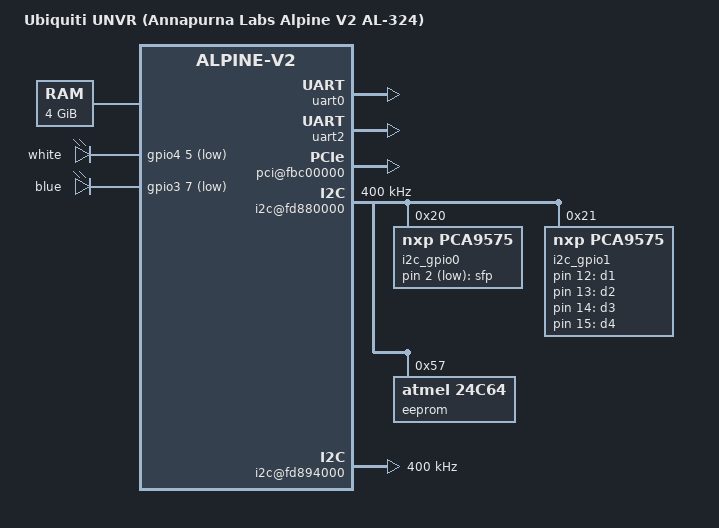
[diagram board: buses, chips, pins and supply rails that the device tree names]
// SPDX-License-Identifier: GPL-2.0+ OR X11
/*
 * Minimal U-Boot control DTS for the Ubiquiti UNVR
 * (Annapurna Labs Alpine V2 / AL-324, sysid 0xea16).
 *
 * Stage-1 console bring-up only: CPUs, PSCI, GIC-v3, arch timer, UART0,
 * memory. Addresses from docs/hardware.md (verified against the live DT).
 * PCIe/SATA/SPI-NOR/I2C nodes are added in later stages.
 */

/dts-v1/;

/ {
	model = "Ubiquiti UNVR (Annapurna Labs Alpine V2 AL-324)";
	compatible = "ubnt,unvr", "annapurna-labs,al-alpine-v2", "al,alpine-v2";
	interrupt-parent = <&gic>;
	#address-cells = <2>;
	#size-cells = <2>;

	aliases {
		serial0 = &uart0;
		serial2 = &uart2;	/* RPS-connector UART — usable as a 2nd console */
	};

	chosen {
		stdout-path = "serial0:115200n8";
	};

	cpus {
		#address-cells = <2>;
		#size-cells = <0>;

		cpu0: cpu@0 {
			device_type = "cpu";
			compatible = "arm,cortex-a57";
			reg = <0x0 0x0>;
			enable-method = "psci";
		};
		cpu1: cpu@1 {
			device_type = "cpu";
			compatible = "arm,cortex-a57";
			reg = <0x0 0x1>;
			enable-method = "psci";
		};
		cpu2: cpu@2 {
			device_type = "cpu";
			compatible = "arm,cortex-a57";
			reg = <0x0 0x2>;
			enable-method = "psci";
		};
		cpu3: cpu@3 {
			device_type = "cpu";
			compatible = "arm,cortex-a57";
			reg = <0x0 0x3>;
			enable-method = "psci";
		};
	};

	psci {
		compatible = "arm,psci-0.2", "arm,psci";
		method = "smc";
	};

	timer {
		compatible = "arm,armv8-timer";
		/* GIC_PPI type; LEVEL_LOW(8) per the vendor dtsi */
		interrupts = <1 13 8>, <1 14 8>, <1 11 8>, <1 10 8>;
	};

	/* 4 GiB: 3 GiB contiguous at 0 + 1 GiB above 4 GiB (docs/hardware.md) */
	memory@0 {
		device_type = "memory";
		reg = <0x0 0x00000000 0x0 0xC0000000>,
		      <0x2 0x00000000 0x0 0x40000000>;
	};

	/* System-bus clock (500 MHz) — feeds the DW I2C IP so its 100 kHz
	 * dividers are computed against the real rate, not the 166 MHz fallback. */
	sbclk: sbclk {
		compatible = "fixed-clock";
		#clock-cells = <0>;
		clock-frequency = <500000000>;
	};


	gic: interrupt-controller@f0200000 {
		compatible = "arm,gic-v3";
		#interrupt-cells = <3>;
		#address-cells = <2>;
		#size-cells = <2>;
		interrupt-controller;
		reg = <0x0 0xf0200000 0x0 0x10000>,	/* GICD */
		      <0x0 0xf0280000 0x0 0x200000>;	/* GICR */
		interrupts = <1 9 4>;
	};

	soc {
		compatible = "simple-bus";
		#address-cells = <2>;
		#size-cells = <2>;
		ranges;

		uart0: serial@fd883000 {
			compatible = "ns16550a";
			reg = <0x0 0xfd883000 0x0 0x1000>;
			interrupts = <0 17 4>;		/* GIC_SPI 17 LEVEL_HIGH */
			clock-frequency = <500000000>;
			reg-shift = <2>;
			reg-io-width = <4>;
			status = "okay";
		};

		/*
		 * uart2 = the RPS-connector UART (ttyS2), RS-232 via MAX3221 (U122)
		 * out on JB4. Enabled as serial2 so it can serve as a SECOND console
		 * (`setenv stdout serial2; setenv stdin serial2`) — a spare RS-232
		 * console when RPS is unused. See docs/rps-subsystem.md,
		 * docs/uboot-hw-test-suite.md. RPS itself runs 115200 8N1 JSON.
		 */
		uart2: serial@fd885000 {
			compatible = "ns16550a";
			reg = <0x0 0xfd885000 0x0 0x1000>;
			interrupts = <0 19 4>;		/* GIC_SPI 19 LEVEL_HIGH */
			clock-frequency = <500000000>;
			reg-shift = <2>;
			reg-io-width = <4>;
			status = "okay";
		};

		/*
		 * Internal PCIe host — an ECAM-compatible window at 0xfbc00000
		 * fronting the SoC's integrated PCI endpoints (bus 0 only): 2×
		 * AHCI SATA (1c36:0031, class AHCI 1.0), eth, crypto, DMA. Linux
		 * uses "pci-host-ecam-generic" here; U-Boot's PCIE_ECAM_GENERIC
		 * binds the same. We ENUMERATE OURSELVES + assign BARs — never
		 * rely on stock U-Boot's enumeration (it doesn't exist standalone).
		 *   reg    = ECAM config space (1 MB, one 4 KB window per devfn)
		 *   ranges = 32-bit non-prefetch MMIO, PCI 0xfe000000 -> CPU 1:1, 16 MB
		 * MSI/interrupts omitted: U-Boot polls AHCI.
		 * Annapurna extra NOT here yet: AXI SMCC snoop (cfg 0x110-0x170) +
		 * APP_CONTROL (0x220) for cache-coherent DMA — add via a board hook
		 * if AHCI DMA reads come back incoherent. (pcie-al-internal.c ref.)
		 */

		pci@fbc00000 {
			compatible = "pci-host-ecam-generic";
			device_type = "pci";
			#address-cells = <3>;
			#size-cells = <2>;
			#interrupt-cells = <1>;
			reg = <0x0 0xfbc00000 0x0 0x100000>;
			ranges = <0x02000000 0x0 0xfe000000  0x0 0xfe000000  0x0 0x01000000>;
			bus-range = <0x00 0x00>;
		};

		/* SoC GPIO (PL061), 6 banks × 8 = 48 lines. "arm,pl061" only (drop
		 * primecell -> no AMBA needed). gpio-line-names = the live MUIO
		 * pinmux map (read 2026-08-18, docs/gpio-map.md) so `gpio status`
		 * self-labels every ball: mux func 0=GPIO / nand / uart2(RPS) /
		 * sgpo / eth-led. "spare*" = GPIO-mode, no known consumer (SW1/SW2/
		 * strap candidates). NAND-bus lines named so they're not mistaken
		 * for free. */
		gpio0: gpio@fd887000 {
			compatible = "arm,pl061"; reg = <0x0 0xfd887000 0x0 0x1000>;
			gpio-controller; #gpio-cells = <2>;
			gpio-line-names = "sfp-25g-led", "spare1", "spare2", "spare3",
					  "spare4", "spare5", "nand-d0", "nand-d1";
		};
		gpio1: gpio@fd888000 {
			compatible = "arm,pl061"; reg = <0x0 0xfd888000 0x0 0x1000>;
			gpio-controller; #gpio-cells = <2>;
			gpio-line-names = "nand-d2", "nand-d3", "nand-d4", "nand-d5",
					  "nand-d6", "nand-d7", "nand-d8", "nand-d9";
		};
		gpio2: gpio@fd889000 {
			compatible = "arm,pl061"; reg = <0x0 0xfd889000 0x0 0x1000>;
			gpio-controller; #gpio-cells = <2>;
			gpio-line-names = "nand-d10", "nand-d11", "nand-d12", "nand-cs",
					  "spare20", "sgpo", "spare22", "spare23";
		};
		gpio5: gpio@fd897000 {
			compatible = "arm,pl061"; reg = <0x0 0xfd897000 0x0 0x1000>;
			gpio-controller; #gpio-cells = <2>;
			gpio-line-names = "spare40", "spare41", "hdd-force-pwr", "spare43",
					  "spare44", "spare45", "spare46", "spare47";
		};
		gpio3: gpio@fd88a000 {
			compatible = "arm,pl061";
			reg = <0x0 0xfd88a000 0x0 0x1000>;
			gpio-controller;
			#gpio-cells = <2>;
			gpio-line-names = "sgpo", "sgpo", "uart2-rps-rx", "uart2-rps-tx",
					  "spare28", "spare29", "eth-led", "ulogo-blue";
		};
		gpio4: gpio@fd88b000 {
			compatible = "arm,pl061";
			reg = <0x0 0xfd88b000 0x0 0x1000>;
			gpio-controller;
			#gpio-cells = <2>;
			gpio-line-names = "spare32", "rps-prnt", "12v-lp", "spare35",
					  "spare36", "ulogo-white", "reset-btn", "spare39";
		};

		/*
		 * I2C "i2c-pld" (DesignWare) @ fd880000, 100 kHz. Hosts the PCA9575
		 * GPIO expanders. We need @0x21 to POWER THE SATA BAYS before AHCI:
		 * on a warm reset the expander drops its outputs, so the drives are
		 * unpowered and every SATA link times out. Same hog the kernel DTS
		 * uses (bays 1-4 = lines 0-3, active-high). This is the "just power
		 * the drive" step — replicated from upstream, not invented.
		 */
		i2c@fd880000 {
			compatible = "snps,designware-i2c";
			reg = <0x0 0xfd880000 0x0 0x1000>;
			clocks = <&sbclk>;
			/* 400 kHz (Fast-mode) = rated max for THIS bus: PCA9575 alone
			 * does 1 MHz (Fm+) but the shared PCA9546 mux + AT24C64 cap at
			 * 400 kHz. Kernel runs 100 kHz (conservative); we run the max. */
			clock-frequency = <400000>;
			#address-cells = <1>;
			#size-cells = <0>;
			status = "okay";

			/* @0x20 — SFP+ 1G link LED on pin 2 (see LED map). */
			i2c_gpio0: gpio@20 {
				compatible = "nxp,pca9575";
				reg = <0x20>;
				gpio-controller;
				#gpio-cells = <2>;
			};

			i2c_gpio1: gpio@21 {
				compatible = "nxp,pca9575";
				reg = <0x21>;
				gpio-controller;
				#gpio-cells = <2>;

				/* One hog per line — U-Boot's gpio-hog only takes the
				 * FIRST gpio in a list, so a single node with 4 gpios
				 * powered only bay 1. Bays 1-4 = lines 0-3, active-high. */
				hdd-pwren0-hog { gpio-hog; gpios = <0 0>; output-high; line-name = "hdd-pwren0"; };
				hdd-pwren1-hog { gpio-hog; gpios = <1 0>; output-high; line-name = "hdd-pwren1"; };
				hdd-pwren2-hog { gpio-hog; gpios = <2 0>; output-high; line-name = "hdd-pwren2"; };
				hdd-pwren3-hog { gpio-hog; gpios = <3 0>; output-high; line-name = "hdd-pwren3"; };
			};

			/* DDR-config EEPROM @0x57 (AT24C64, 16-bit addr). Reads
			 * 0x1c36-repeating — the DDR bootstrap blob (issue #67), not
			 * plain SPD. Node lets `i2c md` use the right 2-byte offset. */
			eeprom@57 {
				compatible = "atmel,24c64";
				reg = <0x57>;
				pagesize = <32>;
			};

			/* PCA9546 i2c mux @0x71 (present, probes) gates: ch0 -> s35390a
			 * RTC @0x30, ch3 -> adt7475 monitor @0x2e. NODE DELIBERATELY OMITTED
			 * from our U-Boot: every behind-mux access times out / hangs the DW
			 * bus (same regression Linux 7.1 hits — docs/i2c-map.md), and neither
			 * device is needed to boot. Left as a bare device (`i2c probe` sees
			 * 0x71) — do NOT add mux children until the behind-mux timeout is fixed. */
		};

		/* Second DW i2c "i2c-gen" @0xfd894000. Empty on ea16 (scanned live,
		 * no devices — docs/i2c-map.md) but enabled so `i2c dev 1; i2c probe`
		 * can confirm nothing hides here. Stock ea16 DTS marks it disabled;
		 * we keep it live for RE. clock via sbclk, same 400 kHz. */
		i2c@fd894000 {
			compatible = "snps,designware-i2c";
			reg = <0x0 0xfd894000 0x0 0x1000>;
			clocks = <&sbclk>;
			clock-frequency = <400000>;
			#address-cells = <1>;
			#size-cells = <0>;
			status = "okay";
		};
	};

	/* Named LEDs -> the `led` command (led <label> on|off, led list). All
	 * default-on so a running our-U-Boot lights the panel. pca9575-backed only
	 * for now: SFP (@0x20 pin2) + bay1-4 fault (@0x21 lines12-15, orange).
	 * Logo (al_gpio) + bay activity (SGPO) LEDs need those driver ports. */
	leds {
		compatible = "gpio-leds";
		led-d1 { label = "d1"; gpios = <&i2c_gpio1 12 0>; default-state = "on"; };
		led-d2 { label = "d2"; gpios = <&i2c_gpio1 13 0>; default-state = "on"; };
		led-d3 { label = "d3"; gpios = <&i2c_gpio1 14 0>; default-state = "on"; };
		led-d4 { label = "d4"; gpios = <&i2c_gpio1 15 0>; default-state = "on"; };
		led-sfp { label = "sfp"; gpios = <&i2c_gpio0 2 1>; default-state = "on"; };
		led-white { label = "white"; gpios = <&gpio4 5 1>; default-state = "on"; };
		led-blue { label = "blue"; gpios = <&gpio3 7 1>; default-state = "on"; };
	};
};
